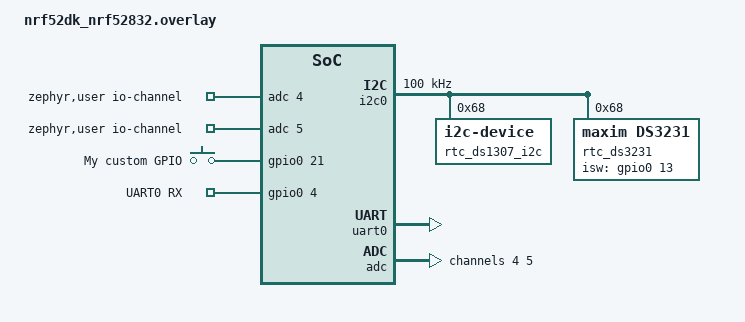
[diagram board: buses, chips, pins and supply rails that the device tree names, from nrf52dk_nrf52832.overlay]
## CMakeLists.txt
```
cmake_minimum_required(VERSION 3.20.0)
find_package(Zephyr REQUIRED HINTS $ENV{ZEPHYR_BASE})

# Get the current Unix timestamp
string(TIMESTAMP CURRENT_UNIX_TIMESTAMP %s)

# Pass the timestamp as a definition
add_compile_definitions(CURRENT_UNIX_TIMESTAMP=${CURRENT_UNIX_TIMESTAMP})

project(nb-iot)

target_include_directories(app PRIVATE "include")

target_sources(app PRIVATE 
    "include/at/prv.hpp"
    "include/gpio/adc.hpp"
    "include/at/common.hpp"

    "src/main.cpp"
    "src/at/prv.cpp"
    "src/gpio/adc.cpp")

if (CONFIG_UART_0_ENABLE OR CONFIG_UART_1_ENABLE)
    target_sources(app PRIVATE 
        "include/uart/uart.hpp"
        "src/uart/uart.cpp")
endif()

if(CONFIG_UART_0_ENABLE)
    target_sources(app PRIVATE 
        "src/uart/uart0.cpp" 
        "include/uart/uart0.hpp")
endif()

if(CONFIG_UART_1_ENABLE)
    target_sources(app PRIVATE 
        "src/uart/uart1.cpp" 
        "include/uart/uart1.hpp")
endif()
```

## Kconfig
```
# Copyright (c) 2021 Nordic Semiconductor ASA
# SPDX-License-Identifier: Apache-2.0

mainmenu "UART Configuration"

config UART_1_ENABLE
    bool "Enable UART 1 driver"
    depends on UART_INTERRUPT_DRIVEN && UART_USE_RUNTIME_CONFIGURE && GPIO && PM_DEVICE && POLL
    help
      Enable the UART 1 driver for communication. This option is only
      available if both interrupt-driven UART and runtime configuration
      for UART are enabled.

config UART_0_ENABLE
    bool "Enable UART 0 driver"
    depends on UART_INTERRUPT_DRIVEN && UART_USE_RUNTIME_CONFIGURE && GPIO && PM_DEVICE && POLL
    help
      Enable the UART 0 driver for communication. This option is only
      available if both interrupt-driven UART and runtime configuration
      for UART are enabled.

  config FLASH_CURRENT_TIMESTAMP
    bool "Current Unix timestamp"
    default n
    help
      If y flashes the current timestamp in unix format to the device using cmake.

source "Kconfig.zephyr"
```

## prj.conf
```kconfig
# configure language supprot and functions
CONFIG_CPP=y
CONFIG_REQUIRES_FULL_LIBCPP=y
CONFIG_REQUIRES_FULL_LIBC=y


CONFIG_SERIAL=y

# configuring uart
# configuring uart
CONFIG_UART_0_ENABLE=y
CONFIG_UART_1_ENABLE=n
CONFIG_UART_INTERRUPT_DRIVEN=y
CONFIG_UART_USE_RUNTIME_CONFIGURE=y

# enable uart for measuring power consumption and waking modules up
CONFIG_GPIO=y

# we enable poll for working with uart
# this allows for efficient use of message queues
CONFIG_POLL=y

# configure the default stack size
# wee store most data on the stack
CONFIG_MAIN_STACK_SIZE=4096

# configure available time functions
CONFIG_MINIMAL_LIBC_TIME=y
CONFIG_POSIX_CLOCK=y


# configure logging via rtt
CONFIG_LOG=y
CONFIG_LOG_BACKEND_RTT=y
CONFIG_LOG_MODE_IMMEDIATE=y
CONFIG_LOG_PRINTK=y
CONFIG_USE_SEGGER_RTT=y
CONFIG_LOG_BACKEND_UART=n

# activate I2C
CONFIG_I2C=y
CONFIG_RTC=y
CONFIG_RTC_DS1307=y

CONFIG_COUNTER=y

CONFIG_COUNTER_MAXIM_DS3231=y
CONFIG_FLASH_CURRENT_TIMESTAMP=n
CONFIG_COUNTER_INIT_PRIORITY=65
CONFIG_REQUIRES_FULL_LIBC=y

# enable ADC
CONFIG_ADC=y

# power managment tests
CONFIG_PM=y
CONFIG_PM_DEVICE=y
CONFIG_PM_POLICY_DEFAULT=y
CONFIG_PM_DEVICE_RUNTIME=y
CONFIG_GPIO=y
CONFIG_CRC=y
CONFIG_POWEROFF=y
#CONFIG_PM_DEVICE=y
#CONFIG_PM_DEVICE_RUNTIME=y
```

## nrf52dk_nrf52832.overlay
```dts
/ {

  zephyr,user {
    io-channels = <&adc 4>, <&adc 5>;
  };

  custom_gpios {

    compatible = "gpio-keys";

    lorareset: lorareset {

      gpios = <&gpio0 21 GPIO_ACTIVE_HIGH>;

      label = "My custom GPIO";

    };

    uart0_rx: uart0_rx {
      gpios = <&gpio0 4 GPIO_ACTIVE_HIGH>;
      label = "UART0 RX";
    };
  
  };

  aliases {
    uart0rx = &uart0_rx;

    lorareset = &lorareset;
    rtc = &rtc_ds3231;

  };
};

&i2c0 {
  status = "okay";
  //compatible = "nordic,nrf-twi";
  clock-frequency = <I2C_BITRATE_STANDARD>;
  //pinctrl-0 = <&i2c1_default>;
  rtc_ds1307_i2c: ds1307_i2c@68 {
    compatible = "i2c-device";
    //status = "okay";
    reg = <0x68>;

  };

  rtc_ds3231: ds3231@68 {
    compatible = "maxim,ds3231";
    reg = <0x68>;
    isw-gpios = < &gpio0 13 0 >;
    status = "okay";
  };

};

&uart0 {
  status = "okay";
  pinctrl-0 = <&uart0_default>;
  pinctrl-1 = <&uart0_sleep>;
  pinctrl-names = "default", "sleep";
  wakeup-source;
};

&adc {
  status = "okay";  // Ensure the ADC device is enabled
  #address-cells = <1>;
  #size-cells = <0>;

  channel@4 {
    reg = <4>;
    zephyr,gain = "ADC_GAIN_1_6";
    zephyr,reference = "ADC_REF_INTERNAL";
    zephyr,acquisition-time = <ADC_ACQ_TIME_DEFAULT>;
    zephyr,input-positive = <NRF_SAADC_AIN4>; // Updated for P0.28
    zephyr,resolution = <12>;
  };
  channel@5 {
    reg = <5>;
    zephyr,gain = "ADC_GAIN_1_6";
    zephyr,reference = "ADC_REF_INTERNAL";
    zephyr,acquisition-time = <ADC_ACQ_TIME_DEFAULT>;
    zephyr,input-positive = <NRF_SAADC_AIN5>;  // Updated for P0.29
    zephyr,resolution = <12>;
  };
};

&gpio0 {
  status = "okay";
  sense-edge-mask = <0xFFFFFFFF>; // Enable all edge detection
};

&uart0_default {
  group1 {
    psels = <NRF_PSEL(UART_TX, 0, 3)>,
            <NRF_PSEL(UART_RX, 0, 4)>,
            <NRF_PSEL(UART_RTS, 0, 5)>,
            <NRF_PSEL(UART_CTS, 0, 7)>;
  };
};

&uart0_sleep {
  group1 {
    psels = <NRF_PSEL(UART_TX, 0, 3)>,
            <NRF_PSEL(UART_RX, 0, 4)>,
            <NRF_PSEL(UART_RTS, 0, 5)>,
            <NRF_PSEL(UART_CTS, 0, 7)>;
  };
};

&clock {
  status = "okay";
};
```

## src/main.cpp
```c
#include <zephyr/kernel.h>
#include <zephyr/logging/log.h>
#include <fcntl.h>
#include <unistd.h>
#include <zephyr/drivers/uart.h>
#include <zephyr/device.h>
#include <algorithm>
#include <stdio.h>
#include "uart/uart0.hpp"
#include "at/prv.hpp"
#include <zephyr/drivers/gpio.h>
#include <zephyr/drivers/i2c.h>
#include <zephyr/drivers/rtc.h>
#include <zephyr/sys/util.h>
#include "gpio/adc.hpp"
#include <zephyr/sys/poweroff.h>
#include <zephyr/pm/device.h>
#include <zephyr/drivers/rtc/maxim_ds3231.h>
#include <zephyr/drivers/counter.h>

LOG_MODULE_REGISTER(main);
// syspoweroff test
static const struct gpio_dt_spec sw0 = GPIO_DT_SPEC_GET(DT_ALIAS(sw0), gpios);
const struct device *const cons = DEVICE_DT_GET(DT_CHOSEN(zephyr_console));

static const struct gpio_dt_spec wakeup_pin = GPIO_DT_SPEC_GET(DT_ALIAS(sw0), gpios);
static struct gpio_callback wakeup_cb_data;

static volatile bool wakeup_flag = false;

// I2C Clock test
const struct device *const rtc = DEVICE_DT_GET(DT_NODELABEL(rtc_ds3231));

// Lora startup init pin do not touch
static const struct gpio_dt_spec reset_pin = GPIO_DT_SPEC_GET_OR(DT_ALIAS(lorareset), gpios, {0});

std::string response;

static void wakeup_callback(const struct device *dev, struct gpio_callback *cb, uint32_t pins)
{
    wakeup_flag = true;
    LOG_INF("Wake-up signal received");
}

void join_network(int network_id, int dev_address)
{
    LOG_INF("Setting address");
    at::commands::prv::_at("AT+ADDRESS=" + std::to_string(dev_address) + "\r\n", response);
    LOG_INF("%s", uart::escape_response(response).c_str());
    response = "";

    LOG_INF("Setting network id");
    at::commands::prv::_at("AT+NETWORKID=" + std::to_string(network_id) + "\r\n", response);
    LOG_INF("%s", uart::escape_response(response).c_str());
    response = "";
}

void send_message(int dev_address, std::string message)
{
    at::commands::prv::_at("AT+SEND=" + std::to_string(dev_address) + "," + std::to_string(message.length()) + "," + message + "\r\n", response);
    LOG_INF("%s", uart::escape_response(response).c_str());
    response = "";
}

int init_lora_module()
{
    if (!gpio_is_ready_dt(&reset_pin))
    {
        return -1;
    }

    gpio_pin_configure_dt(&reset_pin, GPIO_OUTPUT);

    // Keep pin low for 4 seconds to start module correctly according to datasheet
    k_sleep(K_MSEC(4000));

    // Turn on reset pin for module startup
    gpio_pin_set_dt(&reset_pin, 1);
    k_sleep(K_MSEC(1000));
    uart::uart0::change_baudrate(uart::Baud115200);
    at::commands::result result;

    do
    {
        result = at::commands::prv::at();
        LOG_INF("Waiting for module to respond...");

        switch (result)
        {
        case at::commands::result::OK:
            LOG_INF("SUCCESS");
            break;
        case at::commands::result::TIMEOUT:
            LOG_INF("TIMEOUT");
            break;
        default:
            LOG_INF("UNKNOWN");
            break;
        }

        k_sleep(K_MSEC(1000));

    } while (result != at::commands::result::OK);

    LOG_INF("Setting parameters");

    result = at::commands::prv::_at("AT+PARAMETER=9,7,1,12\r\n", response);

    switch (result)
    {
    case at::commands::result::OK:
        LOG_INF("SUCCESS");
        break;
    case at::commands::result::TIMEOUT:
        LOG_INF("TIMEOUT");
        break;
    default:
        LOG_INF("UNKNOWN");
        break;
    }
    LOG_INF("%s", uart::escape_response(response).c_str());
    response = "";

    LOG_INF("Setting RF power");
    at::commands::prv::_at("AT+CRFOP=22\r\n", response);
    LOG_INF("%s", uart::escape_response(response).c_str());
    response = "";

    LOG_INF("Setting frequency band");
    at::commands::prv::_at("AT+BAND=433000000\r\n", response);
    LOG_INF("%s", uart::escape_response(response).c_str());
    response = "";

    return 0;
}

// Needs to be called and set again after each receive
void set_smart_transceiver_mode()
{
    // rx time,sleep_time
    at::commands::prv::_at("AT+MODE=2,100,10000\r\n", response);
    LOG_INF("%s", uart::escape_response(response).c_str());
    response = "";
}

void lora_module_sleep()
{
    at::commands::prv::_at("AT+MODE=1\r\n", response);
    LOG_INF("%s", uart::escape_response(response).c_str());
    response = "";
}

void lora_module_wake()
{
    at::commands::prv::_at("AT+MODE=0\r\n", response);
    LOG_INF("%s", uart::escape_response(response).c_str());
    response = "";
}

// RTC Test

/* Format times as: YYYY-MM-DD HH:MM:SS DOW DOY */
static const char *format_time(time_t time,
                               long nsec)
{
    static char buf[64];
    char *bp = buf;
    char *const bpe = bp + sizeof(buf);
    struct tm tv;
    struct tm *tp = gmtime_r(&time, &tv);

    bp += strftime(bp, bpe - bp, "%Y-%m-%d %H:%M:%S", tp);
    if (nsec >= 0)
    {
        bp += snprintf(bp, bpe - bp, ".%09lu", nsec);
    }
    bp += strftime(bp, bpe - bp, " %a %j", tp);
    return buf;
}

void enable_alarm_interrupt(const struct device *rtc)
{
    int ret;
    uint8_t ctrl_reg;

    // Read the current control register value
    ctrl_reg = 0;

    // Enable the Alarm1 interrupt (A1IE bit) and the INTCN bit
    ctrl_reg |= BIT(0); // A1IE is bit 0 in the control register (for second precision)
    ctrl_reg |= BIT(1); // A2IE is bit 1 in the control register
    ctrl_reg |= BIT(2); // INTCN is bit 2 in the control register

    // Write back the updated control register value
    ret = maxim_ds3231_ctrl_update(rtc, ctrl_reg, 0);
    if (ret < 0)
    {
        LOG_ERR("Failed to enable Alarm1 interrupt: %d", ret);
        return;
    }
    else
    {
        LOG_INF("Alarm interrupt enabled.");
    }

    /* Show the DS3231 ctrl and ctrl_stat register values */
    LOG_INF("DS3231 ctrl %02x ; ctrl_stat %02x\n",
            maxim_ds3231_ctrl_update(rtc, 0, 0),
            maxim_ds3231_stat_update(rtc, 0, 0));
}

void configure_ds3231_alarm(const struct device *rtc, int NODE_ADDRESS)
{
    struct maxim_ds3231_alarm min_alarm;
    struct maxim_ds3231_alarm reset_alarm;
    int rc = 0;
    uint32_t now = 0;

    rc = counter_get_value(rtc, &now);

    time_t raw_time = now;

    if (rc < 0)
    {

        LOG_ERR("Failed to get current time: %d\n", rc);
        return;
    }

    int offset = 0;

    switch (NODE_ADDRESS)
    {
    case 1:
        offset = 15;
        break;
    case 2:
        offset = 30;
        break;
    case 3:
        offset = 45;
        break;
    case 4:
        offset = 0;
        break;
    default:
        LOG_ERR("Invalid node address for alarm offset");
    }

    min_alarm.time = raw_time + (offset + 60 - (raw_time % 60));
    min_alarm.flags = 0 | MAXIM_DS3231_ALARM_FLAGS_IGNDA | MAXIM_DS3231_ALARM_FLAGS_IGNHR | MAXIM_DS3231_ALARM_FLAGS_IGNMN;

    reset_alarm.time = raw_time - 120;
    reset_alarm.flags = 0;

    // Configure ALARM1 for trigger at min_alarm
    rc = maxim_ds3231_set_alarm(rtc, 0, &min_alarm);
    LOG_INF("Set sec based alarm 1 min in the future flags %x at %u ~ %s: %d\n", min_alarm.flags,
            (uint32_t)min_alarm.time, format_time(min_alarm.time, -1), rc);
    // Turn off ALARM 2 to prevent bugs
    rc = maxim_ds3231_set_alarm(rtc, 1, &reset_alarm);
}

static int set_date_time(const struct device *rtc)
{
    uint32_t syncclock_Hz = maxim_ds3231_syncclock_frequency(rtc);
    uint32_t syncclock = maxim_ds3231_read_syncclock(rtc);
    struct sys_notify notify;
    struct k_poll_signal ss;
    struct k_poll_event sevt = K_POLL_EVENT_INITIALIZER(K_POLL_TYPE_SIGNAL,
                                                        K_POLL_MODE_NOTIFY_ONLY,
                                                        &ss);
    int rc = 0;

    struct maxim_ds3231_syncpoint sp = {
        .rtc = {
            .tv_sec = CURRENT_UNIX_TIMESTAMP,
            .tv_nsec = (uint64_t)NSEC_PER_SEC * syncclock / syncclock_Hz,
        },
        .syncclock = syncclock,
    };

    uint32_t t0 = k_uptime_get_32();

    int rc_set = 0;
    rc_set = maxim_ds3231_set(rtc, &sp, &notify);

    printk("Set %s at %u ms past: %d\n", format_time(sp.rtc.tv_sec, sp.rtc.tv_nsec),
            syncclock, rc);

    /* Wait for the set to complete */
    rc = k_poll(&sevt, 1, K_FOREVER);

    if (rc_set < 0)
    {
        LOG_ERR("Failed to set time: %d\n", rc_set);
        return rc_set;
    }

    uint32_t t1 = k_uptime_get_32();
    /* Delay so log messages from sync can complete */
	k_sleep(K_MSEC(100));
	printk("Synchronize final: %d %d in %u ms\n", rc, ss.result, t1 - t0);

	rc = maxim_ds3231_get_syncpoint(rtc, &sp);
	printk("wrote sync %d: %u %u at %u\n", rc,
	       (uint32_t)sp.rtc.tv_sec, (uint32_t)sp.rtc.tv_nsec,
	       sp.syncclock);
    return 0;
}

static void show_counter(const struct device *ds3231)
{
    uint32_t now = 0;

    LOG_INF("Counter at %p\n", ds3231);
    LOG_INF("\tMax top value: %u (%08x)\n",
            counter_get_max_top_value(ds3231),
            counter_get_max_top_value(ds3231));
    LOG_INF("\t%u channels\n", counter_get_num_of_channels(ds3231));
    LOG_INF("\t%u Hz\n", counter_get_frequency(ds3231));

    LOG_INF("Top counter value: %u (%08x)\n",
            counter_get_top_value(ds3231),
            counter_get_top_value(ds3231));

    (void)counter_get_value(ds3231, &now);

    LOG_INF("True counter value %d", now);
    LOG_INF("Now %u: %s\n", now, format_time(now, -1));
}

// RTC

bool GATEWAY = false;
int GATEWAY_ADDRESS = 420;
int NODE_ADDRESS = 2;

#define DEVICE_ADDR 0x68
#define REG_ADDR 0x00

const struct device *i2c_dev = DEVICE_DT_GET(DT_NODELABEL(i2c0));

int main(void)
{

    if (uart::uart0::uart_init() != 0)
    {
        LOG_INF("UART initialization failed\n");
        return -1;
    }

    if (gpio::adc::setup() != 0)
    {
        LOG_INF("ADC initialization failed\n");
        return -1;
    }

    if (init_lora_module() != 0)
    {
        LOG_INF("Failed to initialize LoRa module\n");
        return -1;
    }

    int rc;
    // Power off
    if (!device_is_ready(cons))
    {
        printf("%s: device not ready.\n", cons->name);
        return 0;
    }

    /* Configure sw0 as input and set up interrupt */
    rc = gpio_pin_configure_dt(&sw0, GPIO_INPUT);
    if (rc < 0)
    {
        printf("Could not configure sw0 GPIO (%d)\n", rc);
        return 0;
    }

    rc = gpio_pin_interrupt_configure_dt(&sw0, GPIO_INT_EDGE_TO_ACTIVE);
    if (rc < 0)
    {
        printf("Could not configure sw0 GPIO interrupt (%d)\n", rc);
        return 0;
    }

    gpio_init_callback(&wakeup_cb_data, wakeup_callback, BIT(wakeup_pin.pin));
    gpio_add_callback(wakeup_pin.port, &wakeup_cb_data);

// RTC time flashing based on kconfig
#ifdef CONFIG_FLASH_CURRENT_TIMESTAMP
    set_date_time(rtc);
    k_sleep(K_MSEC(8000));
#endif

    k_sleep(K_MSEC(1000));

    show_counter(rtc);

    // Join the network depending on the device type

    if (GATEWAY)
    {
        LOG_INF("Joining network as gateway");
        join_network(69, GATEWAY_ADDRESS);
    }
    else
    {
        LOG_INF("Joining network as node");
        join_network(69, NODE_ADDRESS);
    }

    // Enable interrupt output on SQW pin
    enable_alarm_interrupt(rtc);

    configure_ds3231_alarm(rtc, NODE_ADDRESS);

    while (1)
    {

        if (GATEWAY)
        {
            // receive data
            if (uart::uart0::uart_read(response, K_FOREVER) == uart::UART_READ_OK)
            {
                LOG_INF("%s", uart::escape_response(response).c_str());
                // if (response.find("RCV") != std::string::npos)
                // {
                //     lora_module_sleep();
                //     k_sleep(K_MSEC(8000));
                //     lora_module_wake();
                // }
                response = "";
            }
            else
            {
                LOG_INF("Error reading uart");
            }
        }
        else
        {
            // send data read from ADC sensor
            int32_t voltage0 = 0;
            int32_t voltage1 = 0;
            gpio::adc::read_channel(0, voltage0);
            LOG_INF("ADC reading [%u]: %u  ", 4, voltage0);
            gpio::adc::read_channel(1, voltage1);
            LOG_INF("ADC reading [%u]: %u", 5, voltage1);

            send_message(GATEWAY_ADDRESS, "\"" + std::to_string(NODE_ADDRESS) + "," + std::to_string(voltage0) + "," + std::to_string(voltage1) + "\"");
            k_sleep(K_MSEC(10000));

            rc = pm_device_action_run(cons, PM_DEVICE_ACTION_SUSPEND);
            if (rc < 0)
            {
                printf("Could not suspend console (%d)\n", rc);
                return 0;
            }
            wakeup_flag = false;
            
            while (!wakeup_flag)
            {
                sys_poweroff();
            }

            

            pm_device_action_run(cons, PM_DEVICE_ACTION_RESUME);
        }
    }
}
```
